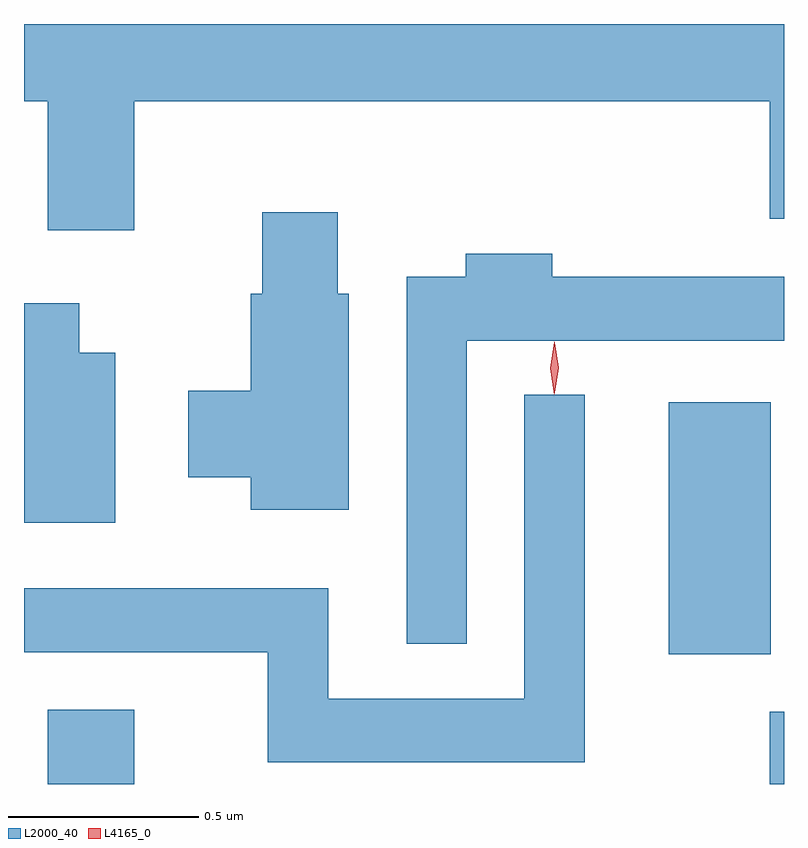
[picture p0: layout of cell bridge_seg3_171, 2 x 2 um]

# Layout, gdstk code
import gdstk
lib = gdstk.Library(unit=1e-6, precision=1e-09)
def R(c, l, rs):  # rectangles x0, y0, x1, y1
    for r in rs: c.add(gdstk.rectangle(r[:2], r[2:], *l))
def P(c, l, *ps):  # polygons
    for p in ps: c.add(gdstk.Polygon(p, *l))
L2000_40 = (2000, 40)
L4165_0 = (4165, 0)

bridge_seg3_171 = lib.new_cell('bridge_seg3_171')
R(bridge_seg3_171, L2000_40, [(907.001,1195.259,907.229,1195.454), (908.901,1195.259,908.939,1195.449), (908.636,1195.601,908.904,1196.264)])
P(bridge_seg3_171, L2000_40, [(907.229,1197.056),(908.901,1197.056),(908.901,1196.746),(908.939,1196.746),(908.939,1197.259),(906.939,1197.259),(906.939,1197.056),(907.001,1197.056),(907.001,1196.716),(907.229,1196.716)],
  [(907.794,1196.549),(907.764,1196.549),(907.764,1196.764),(907.566,1196.764),(907.566,1196.549),(907.536,1196.549),(907.536,1196.294),(907.371,1196.294),(907.371,1196.066),(907.536,1196.066),(907.536,1195.981),(907.794,1195.981)],
  [(908.104,1196.426),(908.939,1196.426),(908.939,1196.594),(908.329,1196.594),(908.329,1196.654),(908.101,1196.654),(908.101,1196.594),(907.946,1196.594),(907.946,1195.628),(908.104,1195.628)],
  [(907.179,1196.394),(907.084,1196.394),(907.084,1196.524),(906.939,1196.524),(906.939,1195.946),(907.179,1195.946)],
  [(908.414,1196.283),(908.256,1196.283),(908.256,1195.484),(907.739,1195.484),(907.739,1195.774),(906.939,1195.774),(906.939,1195.606),(907.581,1195.606),(907.581,1195.316),(908.414,1195.316)])
P(bridge_seg3_171, L4165_0, [(908.334,1196.284),(908.334,1196.284),(908.324,1196.353),(908.334,1196.422),(908.334,1196.423),(908.335,1196.422),(908.344,1196.353),(908.335,1196.284)],
  [(908.336,1196.287),(908.335,1196.288),(908.326,1196.354),(908.335,1196.42),(908.336,1196.421),(908.336,1196.42),(908.346,1196.354),(908.336,1196.288)])

lib.write_gds('bridge_seg3_171.gds')
